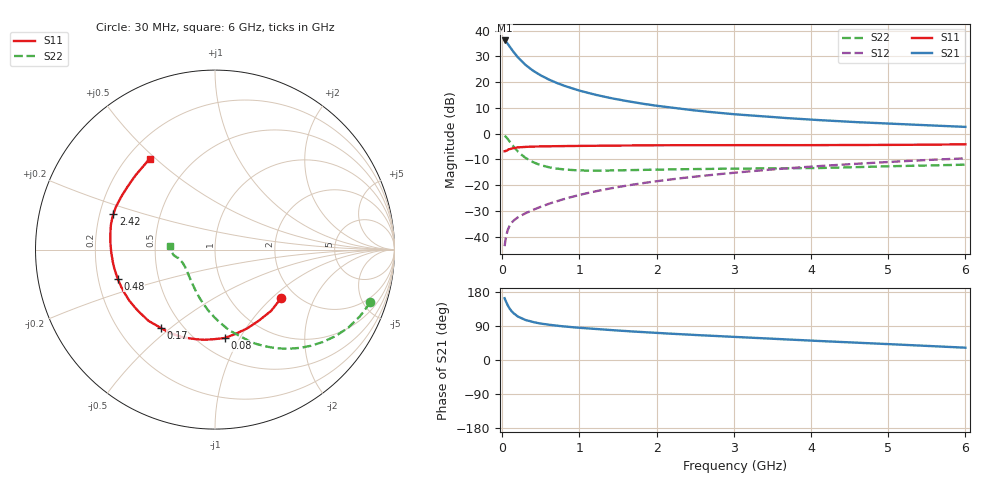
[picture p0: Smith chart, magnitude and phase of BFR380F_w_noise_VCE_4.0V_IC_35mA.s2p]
! Infineon Technologies  Discrete & RF Semiconductors
! BFR380F
! VCE =  4.0 V,  IC =  35 mA
! Common Emitter S-Parameters:  Nov 2015
# GHz  S  MA  R  50
!  f  S11  S21  S12  S22
! GHz  MAG  ANG  MAG  ANG  MAG  ANG  MAG  ANG
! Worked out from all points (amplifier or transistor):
!   206 points, 30 MHz to 6 GHz, reference 50 ohm
!   highest |S21| = 36.1 dB at 30 MHz (marker M1)
!   |S21| within 3 dB of that: start of sweep to 110.4 MHz
!   unconditionally stable (mu >= 1): 1.065 GHz to 4.918 GHz
!   at 200 MHz: K = 0.52, MSG = 31.1 dB, |S12| = -32.5 dB
!   at 1.56 GHz: K = 1.03, MAG = 15.6 dB, |S12| = -20.4 dB
!   at 6 GHz: K = 0.99, MSG = 6.1 dB, |S12| = -9.6 dB
!   lowest NFmin = 1.29 dB at 900 MHz
!   S11 on the Smith chart (normalised r, x): 30 MHz: 1.67, -1.15; 80 MHz: 0.66, -0.87; 170 MHz: 0.38, -0.46; 480 MHz: 0.28, -0.13; 2.42 GHz: 0.26, +0.16; 6 GHz: 0.29, +0.48
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0.03  0.4571 -36.5  64.18 163.0  0.0066 78.6  0.9145 -18.8
0.05  0.4654 -58.6  60.33 152.7  0.0105 72.5  0.8603 -30.4
0.07  0.4838 -76.5  55.22 144.2  0.0135 66.2  0.7911 -40.6
0.08  0.4955 -83.7  52.76 140.8  0.0147 63.9  0.7567 -45.1
0.1  0.5058 -96.6  47.76 134.3  0.0169 60.2  0.6896 -53.2
0.12  0.5153 -106.7  43.33 129.0  0.0187 57.7  0.6289 -60.1
0.15  0.5285 -119.0  37.68 122.6  0.0209 55.5  0.5518 -68.8
0.17  0.5305 -124.7  34.7 119.9  0.0221 54.9  0.511 -72.8
0.2  0.543 -133.0  30.4 114.8  0.0238 54.1  0.4555 -80.2
0.24  0.547 -140.4  26.34 110.8  0.0257 54.3  0.4012 -87.0
0.3  0.5556 -149.2  21.6 105.6  0.0287 55.4  0.3407 -96.4
0.4  0.562 -158.3  16.6 100.0  0.0334 57.9  0.2806 -108.2
0.48  0.5659 -163.4  14 96.9  0.0374 60.0  0.2514 -115.7
0.7  0.5731 -172.4  9.703 90.7  0.0488 64.2  0.2111 -131.7
1.04  0.5804 179.3  6.592 84.3  0.0671 67.6  0.1936 -146.6
1.4  0.5878 173.1  4.915 79.0  0.0869 68.9  0.1935 -155.7
2.02  0.5971 165.3  3.45 71.3  0.121 69.0  0.2011 -162.6
2.42  0.5994 160.8  2.907 66.9  0.1429 68.2  0.2056 -165.3
3.1  0.6 154.5  2.326 60.0  0.1803 66.3  0.2102 -167.3
4.1  0.6001 144.7  1.836 50.2  0.2353 62.1  0.2159 -168.3
5.1  0.607 135.4  1.546 41.0  0.2881 57.5  0.2352 -173.7
6  0.6237 125.7  1.355 32.5  0.3325 52.3  0.2508 175.8
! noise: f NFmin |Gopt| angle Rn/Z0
0.45  1.32  0.33  -177  0.08
0.9  1.29  0.36  -177  0.07
1.8  1.5  0.42  -166  0.08
1.9  1.58  0.43  -166  0.08
2.4  1.65  0.45  -156  0.1
3.5  2.23  0.51  -147  0.16
